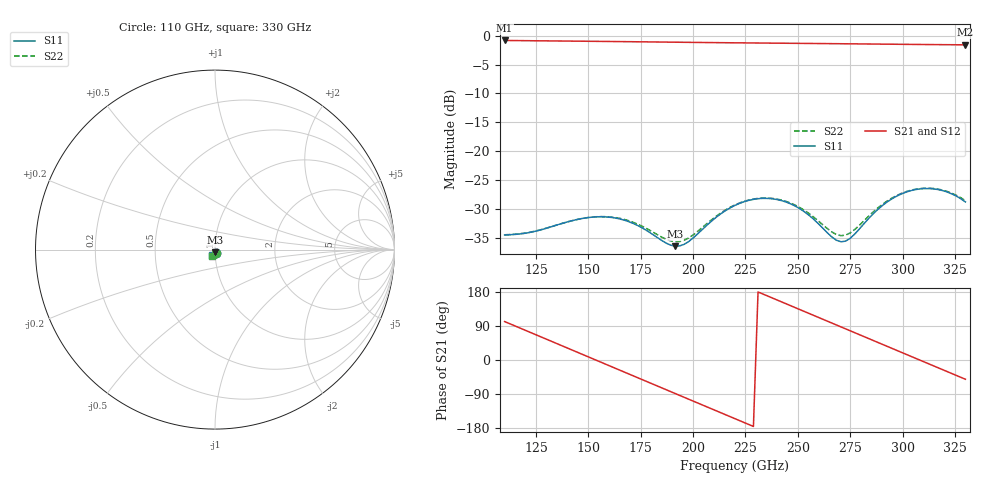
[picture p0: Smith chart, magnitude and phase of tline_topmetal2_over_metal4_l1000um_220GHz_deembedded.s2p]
! Created with skrf 2.2.0 (http://scikit-rf.org).
# GHz S DB R 50.0
! Port[1] = P1
! Port[2] = P2
!freq dBS11 angS11 dBS21 angS21 dBS12 angS12 dBS22 angS22
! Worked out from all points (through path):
!   101 points, 110 GHz to 330 GHz, reference 50 ohm
!   highest |S21| = -0.83 dB at 110 GHz (marker M1); lowest = -1.6 dB at 330 GHz (marker M2)
!   group delay of S21, straight-line fit = 6.47 ps
!   lowest |S11| = -36.5 dB at 191.4 GHz (marker M3), VSWR 1.03, Z = 50.1 - j1.5 ohm
!   |S11| at or under -10 dB: start of sweep to end of sweep
!   |S22| runs from -35.7 to -26.4 dB; largest |S21 - S12| = 1e-13
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110  -34.53 -74.1  -0.83 101.5  -0.83 101.5  -34.49 -74.3
118.8  -34.28 -73.5  -0.86 80.9  -0.86 80.9  -34.24 -73.7
127.6  -33.60 -72.4  -0.90 60.4  -0.90 60.4  -33.58 -72.7
138.6  -32.40 -75.2  -0.93 34.8  -0.93 34.8  -32.40 -75.0
147.4  -31.64 -81.1  -0.96 14.2  -0.96 14.2  -31.64 -80.5
156.2  -31.37 -89.0  -0.99 -6.3  -0.99 -6.3  -31.34 -87.8
165  -31.75 -97.1  -1.03 -26.8  -1.03 -26.8  -31.65 -95.4
176  -33.36 -103.9  -1.07 -52.5  -1.07 -52.5  -33.07 -101.5
184.8  -35.43 -99.9  -1.11 -73.0  -1.11 -73.0  -34.85 -97.8
191.4  -36.46 -86.7  -1.13 -88.4  -1.13 -88.4  -35.70 -86.5
204.6  -33.50 -62.5  -1.18 -119.1  -1.18 -119.1  -33.16 -65.0
220  -29.39 -71.2  -1.24 -154.9  -1.24 -154.9  -29.31 -72.2
228.8  -28.35 -82.9  -1.27 -175.4  -1.27 -175.4  -28.30 -83.1
237.6  -28.25 -95.5  -1.29 164.2  -1.29 164.2  -28.18 -94.8
246.4  -29.11 -107.0  -1.32 143.7  -1.32 143.7  -28.97 -105.5
257.4  -31.75 -115.0  -1.36 118.1  -1.36 118.1  -31.38 -112.3
272.8  -35.59 -83.3  -1.41 82.2  -1.41 82.2  -34.55 -84.7
283.8  -31.68 -62.5  -1.44 56.6  -1.44 56.6  -31.27 -66.0
294.8  -28.29 -68.9  -1.48 31.0  -1.48 31.0  -28.16 -71.1
303.6  -26.88 -80.3  -1.51 10.6  -1.51 10.6  -26.81 -81.5
312.4  -26.48 -93.2  -1.54 -9.9  -1.54 -9.9  -26.42 -93.5
330  -28.80 -115.6  -1.59 -50.8  -1.59 -50.8  -28.59 -113.6
